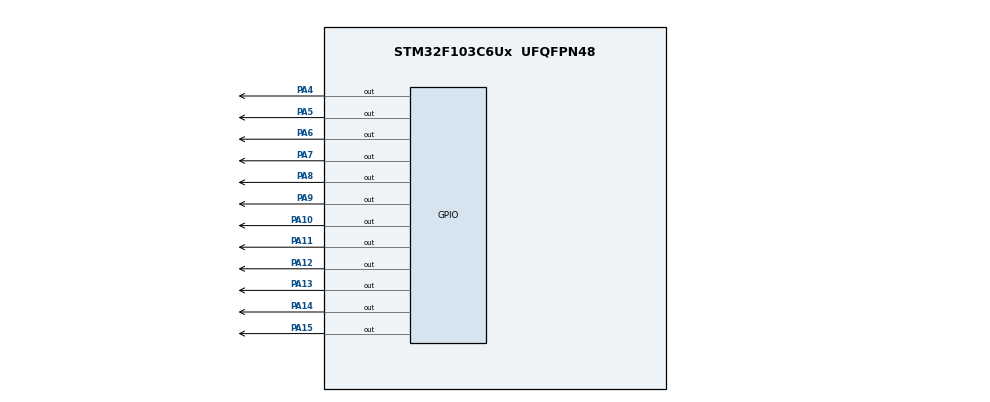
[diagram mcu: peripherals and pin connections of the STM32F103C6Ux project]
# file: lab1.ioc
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Mcu.Family=STM32F1
Mcu.Name=STM32F103C6Ux
Mcu.Package=UFQFPN48
NVIC.PriorityGroup=NVIC_PRIORITYGROUP_4
PA10.Signal=GPIO_Output
PA11.Signal=GPIO_Output
PA12.Signal=GPIO_Output
PA13.Signal=GPIO_Output
PA14.Signal=GPIO_Output
PA15.Signal=GPIO_Output
PA4.Signal=GPIO_Output
PA5.Signal=GPIO_Output
PA6.Signal=GPIO_Output
PA7.Signal=GPIO_Output
PA8.Signal=GPIO_Output
PA9.Signal=GPIO_Output
ProjectManager.HeapSize=0x200
ProjectManager.StackSize=0x400
ProjectManager.TargetToolchain=STM32CubeIDE
RCC.APB1Freq_Value=8000000
RCC.APB2Freq_Value=8000000
VP_SYS_VS_ND.Mode=No_Debug
board=custom

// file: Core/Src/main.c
/* USER CODE BEGIN Header */
/**
  ******************************************************************************
  * @file           : main.c
  * @brief          : Main program body
  ******************************************************************************
  * @attention
  *
  * <h2><center>&copy; Copyright (c) 2023 STMicroelectronics.
  * All rights reserved.</center></h2>
  *
  * This software component is licensed by ST under BSD 3-Clause license,
  * the "License"; You may not use this file except in compliance with the
  * License. You may obtain a copy of the License at:
  *                        opensource.org/licenses/BSD-3-Clause
  *
  ******************************************************************************
  */
/* USER CODE END Header */
#include "main.h"

void SystemClock_Config(void);
static void MX_GPIO_Init(void);
void clearAllClock () {
	  HAL_GPIO_WritePin ( GPIOA , GPIO_PIN_4 ,0) ;
	  HAL_GPIO_WritePin ( GPIOA , GPIO_PIN_5 ,0) ;
	  HAL_GPIO_WritePin ( GPIOA , GPIO_PIN_6 ,0) ;
	  HAL_GPIO_WritePin ( GPIOA , GPIO_PIN_7 ,0) ;
	  HAL_GPIO_WritePin ( GPIOA , GPIO_PIN_8 ,0) ;
	  HAL_GPIO_WritePin ( GPIOA , GPIO_PIN_9 ,0) ;
	  HAL_GPIO_WritePin ( GPIOA , GPIO_PIN_10 ,0) ;
	  HAL_GPIO_WritePin ( GPIOA , GPIO_PIN_11 ,0) ;
	  HAL_GPIO_WritePin ( GPIOA , GPIO_PIN_12 ,0) ;
	  HAL_GPIO_WritePin ( GPIOA , GPIO_PIN_13 ,0) ;
	  HAL_GPIO_WritePin ( GPIOA , GPIO_PIN_14 ,0) ;
	  HAL_GPIO_WritePin ( GPIOA , GPIO_PIN_15 ,0) ;
}
void setNumberOnClock (int num ) {
	switch ( num ) {
	case 0:
	HAL_GPIO_WritePin ( GPIOA , GPIO_PIN_4 ,1) ;
	break ;
	case 1:
	HAL_GPIO_WritePin ( GPIOA , GPIO_PIN_5 ,1) ;
	break ;
	case 2:
	HAL_GPIO_WritePin ( GPIOA , GPIO_PIN_6 ,1) ;
	break ;
	case 3:
	HAL_GPIO_WritePin ( GPIOA , GPIO_PIN_7 ,1) ;
	break ;
	case 4:
	HAL_GPIO_WritePin ( GPIOA , GPIO_PIN_8 ,1) ;
	break ;
	case 5:
	HAL_GPIO_WritePin ( GPIOA , GPIO_PIN_9 ,1) ;
	break ;
	case 6:
	HAL_GPIO_WritePin ( GPIOA , GPIO_PIN_10 ,1) ;
	break ;
	case 7:
	HAL_GPIO_WritePin ( GPIOA , GPIO_PIN_11 ,1) ;
	break ;
	case 8:
	HAL_GPIO_WritePin ( GPIOA , GPIO_PIN_12 ,1) ;
	break ;
	case 9:
	HAL_GPIO_WritePin ( GPIOA , GPIO_PIN_13 ,1) ;
	break ;
	case 10:
	HAL_GPIO_WritePin ( GPIOA , GPIO_PIN_14 ,1) ;
	break ;
	case 11:
	HAL_GPIO_WritePin ( GPIOA , GPIO_PIN_15 ,1) ;
	break ;
	default :
	break ;
	}

}

int main(void)
{

  /* MCU Configuration--------------------------------------------------------*/

  /* Reset of all peripherals, Initializes the Flash interface and the Systick. */
  HAL_Init();

  /* Configure the system clock */
  SystemClock_Config();

  /* Initialize all configured peripherals */
  MX_GPIO_Init();

  /* Infinite loop */
  /* USER CODE BEGIN WHILE */
  int hr =0 , min = 0 , sec =0;
  while (1)
  {
	  clearAllClock () ;
	  setNumberOnClock ( hr ) ;
	  setNumberOnClock ( min /5) ;
	  setNumberOnClock ( sec /5) ;
	  sec ++;
	  if( sec == 60) {
	  sec =0;
	  min ++;
	  }
	  if( min == 60) {
	  min =0;
	  hr ++;
	  }
	  if( hr ==12) {
	  hr =0;
	  }
	  HAL_Delay (1000) ;

    /* USER CODE END WHILE */

  }
}

void SystemClock_Config(void)
{
  RCC_OscInitTypeDef RCC_OscInitStruct = {0};
  RCC_ClkInitTypeDef RCC_ClkInitStruct = {0};

  /** Initializes the RCC Oscillators according to the specified parameters
  * in the RCC_OscInitTypeDef structure.
  */
  RCC_OscInitStruct.OscillatorType = RCC_OSCILLATORTYPE_HSI;
  RCC_OscInitStruct.HSIState = RCC_HSI_ON;
  RCC_OscInitStruct.HSICalibrationValue = RCC_HSICALIBRATION_DEFAULT;
  RCC_OscInitStruct.PLL.PLLState = RCC_PLL_NONE;
  if (HAL_RCC_OscConfig(&RCC_OscInitStruct) != HAL_OK)
  {
    Error_Handler();
  }
  /** Initializes the CPU, AHB and APB buses clocks
  */
  RCC_ClkInitStruct.ClockType = RCC_CLOCKTYPE_HCLK|RCC_CLOCKTYPE_SYSCLK
                              |RCC_CLOCKTYPE_PCLK1|RCC_CLOCKTYPE_PCLK2;
  RCC_ClkInitStruct.SYSCLKSource = RCC_SYSCLKSOURCE_HSI;
  RCC_ClkInitStruct.AHBCLKDivider = RCC_SYSCLK_DIV1;
  RCC_ClkInitStruct.APB1CLKDivider = RCC_HCLK_DIV1;
  RCC_ClkInitStruct.APB2CLKDivider = RCC_HCLK_DIV1;

  if (HAL_RCC_ClockConfig(&RCC_ClkInitStruct, FLASH_LATENCY_0) != HAL_OK)
  {
    Error_Handler();
  }
}

static void MX_GPIO_Init(void)
{
  GPIO_InitTypeDef GPIO_InitStruct = {0};

  /* GPIO Ports Clock Enable */
  __HAL_RCC_GPIOA_CLK_ENABLE();

  /*Configure GPIO pin Output Level */
  HAL_GPIO_WritePin(GPIOA, GPIO_PIN_4|GPIO_PIN_5|GPIO_PIN_6|GPIO_PIN_7
                          |GPIO_PIN_8|GPIO_PIN_9|GPIO_PIN_10|GPIO_PIN_11
                          |GPIO_PIN_12|GPIO_PIN_13|GPIO_PIN_14|GPIO_PIN_15, GPIO_PIN_RESET);

  /*Configure GPIO pins : PA4 PA5 PA6 PA7
                           PA8 PA9 PA10 PA11
                           PA12 PA13 PA14 PA15 */
  GPIO_InitStruct.Pin = GPIO_PIN_4|GPIO_PIN_5|GPIO_PIN_6|GPIO_PIN_7
                          |GPIO_PIN_8|GPIO_PIN_9|GPIO_PIN_10|GPIO_PIN_11
                          |GPIO_PIN_12|GPIO_PIN_13|GPIO_PIN_14|GPIO_PIN_15;
  GPIO_InitStruct.Mode = GPIO_MODE_OUTPUT_PP;
  GPIO_InitStruct.Pull = GPIO_NOPULL;
  GPIO_InitStruct.Speed = GPIO_SPEED_FREQ_LOW;
  HAL_GPIO_Init(GPIOA, &GPIO_InitStruct);

}

void Error_Handler(void)
{
  __disable_irq();
  while (1)
  {
  }
}

/************************ (C) COPYRIGHT STMicroelectronics *****END OF FILE****/
